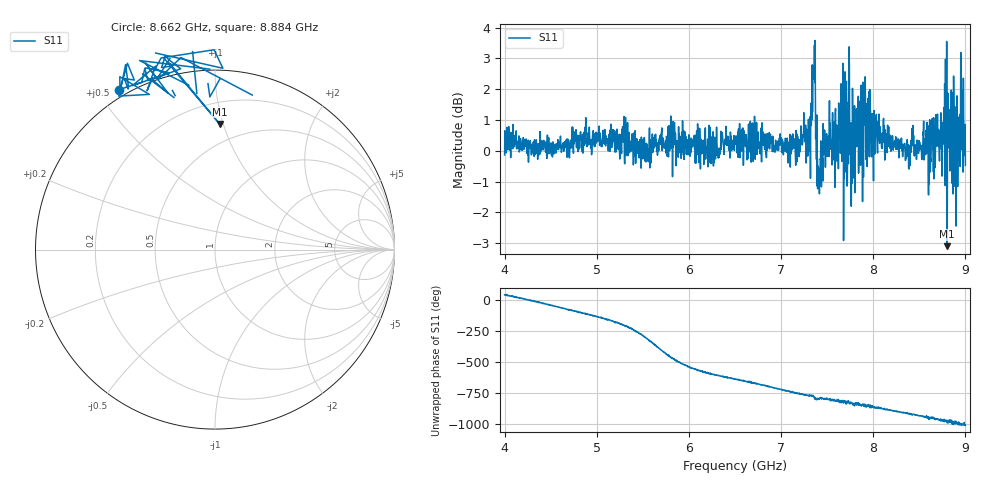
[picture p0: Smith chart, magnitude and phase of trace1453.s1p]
! Created with skrf 1.8.0 (http://scikit-rf.org).
# Hz S RI R 50.0
!freq ReS11 ImS11
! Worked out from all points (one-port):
!   1601 points, 4 GHz to 9 GHz, reference 50 ohm
!   lowest |S11| = -3.1 dB at 8.803 GHz (marker M1), VSWR 5.67, Z = 17.7 + j48.7 ohm
!   |S11| at or under -10 dB: nowhere
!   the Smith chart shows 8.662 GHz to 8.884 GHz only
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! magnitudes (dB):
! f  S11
! 4 GHz  -0.1
! 4.625 GHz  0.1
! 5.25 GHz  -0.3
! 5.875 GHz  0.1
! 6.5 GHz  0.2
! 7.125 GHz  0.3
! 7.294 GHz  -0.1
! 7.347 GHz  2.4
! 7.362 GHz  3.4
! 7.397 GHz  -1.2
! 7.416 GHz  -1.4
! 7.509 GHz  0.4
! 7.619 GHz  0.8
! 7.65 GHz  2.2
! 7.703 GHz  0.2
! 7.719 GHz  -1.0
! 7.75 GHz  -0.1
! 7.775 GHz  2.0
! 7.822 GHz  0.5
! 7.872 GHz  0.7
! 7.922 GHz  -0.2
! 7.997 GHz  0.7
! 8.375 GHz  0.2
! 8.603 GHz  0.1
! 8.803 GHz  -3.1
! 8.919 GHz  -0.2
! 8.972 GHz  0.8
! 9 GHz  -0.5
